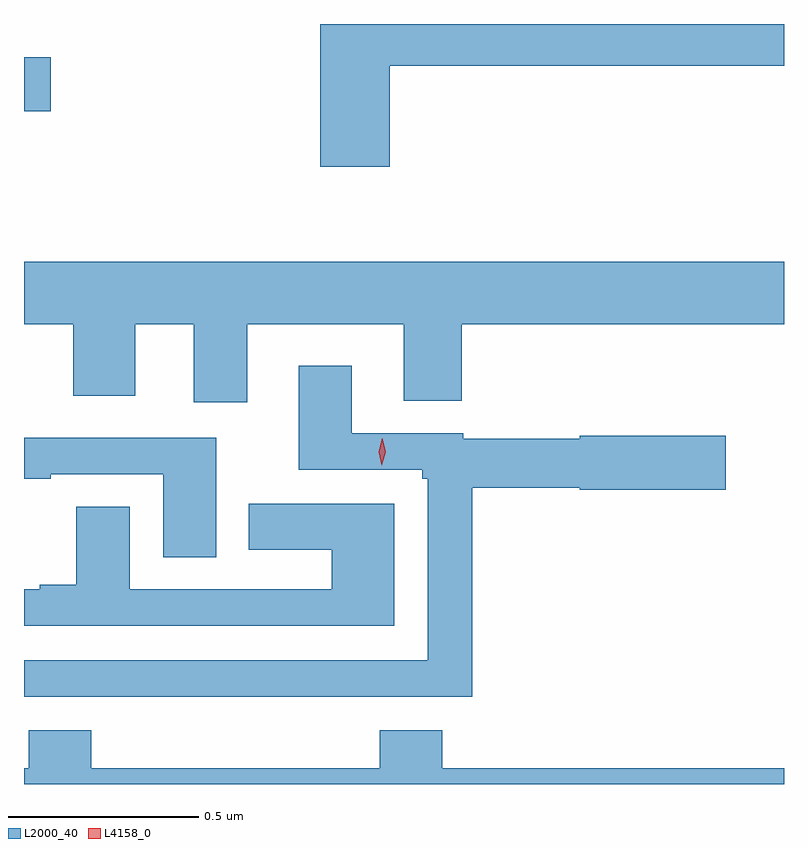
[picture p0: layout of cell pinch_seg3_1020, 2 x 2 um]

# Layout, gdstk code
import gdstk
lib = gdstk.Library(unit=1e-6, precision=1e-09)
def R(c, l, rs):  # rectangles x0, y0, x1, y1
    for r in rs: c.add(gdstk.rectangle(r[:2], r[2:], *l))
def P(c, l, *ps):  # polygons
    for p in ps: c.add(gdstk.Polygon(p, *l))
L2000_40 = (2000, 40)
L4158_0 = (4158, 0)

pinch_seg3_1020 = lib.new_cell('pinch_seg3_1020')
R(pinch_seg3_1020, L2000_40, [(417.854,689.488,417.925,689.63)])
P(pinch_seg3_1020, L2000_40, [(418.817,689.608),(419.854,689.608),(419.854,689.718),(418.634,689.718),(418.634,689.343),(418.817,689.343)],
  [(418.441,688.928),(418.853,688.928),(418.853,688.726),(419.006,688.726),(419.006,688.928),(419.854,688.928),(419.854,689.092),(417.854,689.092),(417.854,688.928),(417.983,688.928),(417.983,688.74),(418.147,688.74),(418.147,688.928),(418.301,688.928),(418.301,688.722),(418.441,688.722)],
  [(418.706,687.948),(419.033,687.948),(419.033,688.498),(419.316,688.498),(419.316,688.493),(419.701,688.493),(419.701,688.635),(419.316,688.635),(419.316,688.627),(419.01,688.627),(419.01,688.641),(418.717,688.641),(418.717,688.819),(418.577,688.819),(418.577,688.545),(418.902,688.545),(418.902,688.521),(418.917,688.521),(418.917,688.044),(417.854,688.044),(417.854,687.948),(418.114,687.948),(418.114,687.947),(418.706,687.947)],
  [(418.36,688.629),(417.854,688.629),(417.854,688.521),(417.925,688.521),(417.925,688.533),(418.22,688.533),(418.22,688.315),(418.36,688.315)],
  [(418.828,688.456),(418.445,688.456),(418.445,688.334),(418.664,688.334),(418.664,688.23),(418.132,688.23),(418.132,688.448),(417.992,688.448),(417.992,688.243),(417.896,688.243),(417.896,688.23),(417.854,688.23),(417.854,688.134),(418.828,688.134)],
  [(419.854,687.76),(418.955,687.76),(418.955,687.859),(418.79,687.859),(418.79,687.76),(418.031,687.76),(418.031,687.859),(417.866,687.859),(417.866,687.76),(417.854,687.76),(417.854,687.718),(419.854,687.718)])
P(pinch_seg3_1020, L4158_0, [(418.796,688.557),(418.796,688.557),(418.787,688.592),(418.797,688.628),(418.797,688.628),(418.797,688.628),(418.806,688.592),(418.796,688.557)])

lib.write_gds('pinch_seg3_1020.gds')
